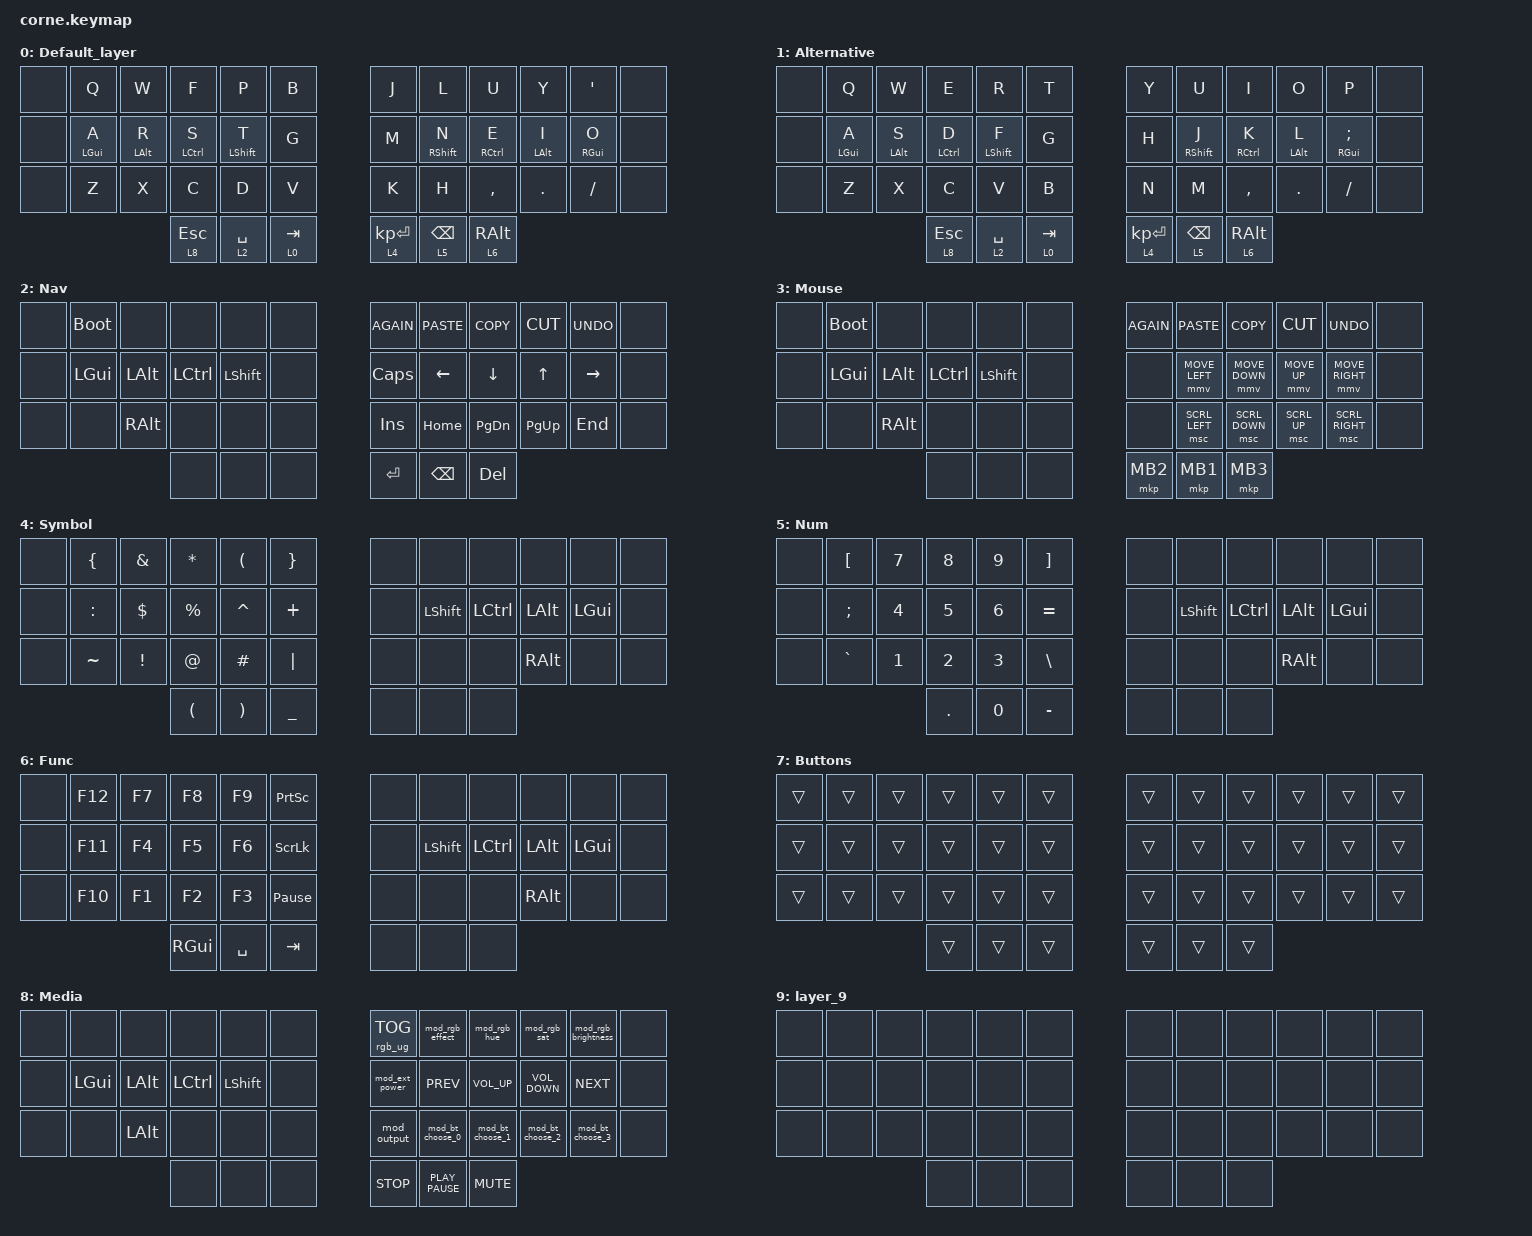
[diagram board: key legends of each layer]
/*
 * Copyright (c) 2020 The ZMK Contributors
 *
 * SPDX-License-Identifier: MIT
 */

#include <behaviors.dtsi>
#include <dt-bindings/zmk/bt.h>
#include <dt-bindings/zmk/ext_power.h>
#include <dt-bindings/zmk/keys.h>
#include <dt-bindings/zmk/outputs.h>
#include <dt-bindings/zmk/pointing.h>
#include <dt-bindings/zmk/rgb.h>

#define ZMK_POINTING_DEFAULT_SCRL_VAL 25
#define LOWER   1
#define RAISE   2

/ {
    behaviors {
        hrl: hrl {
            compatible = "zmk,behavior-hold-tap";
            label = "HRL";
            bindings = <&kp>, <&kp>;

            #binding-cells = <2>;
            flavor = "tap-preferred";
            tapping-term-ms = <200>;
            quick-tap-ms = <175>;
            require-prior-idle-ms = <1>;
            hold-trigger-key-positions = <7 6 18 30 31 19 8 20 32 33 9 21 34 22 10 11 23 35>;
        };

        hrm: hrm {
            compatible = "zmk,behavior-hold-tap";
            label = "HRM";
            bindings = <&kp>, <&kp>;

            #binding-cells = <2>;
            flavor = "tap-preferred";
            tapping-term-ms = <200>;
            quick-tap-ms = <175>;
            require-prior-idle-ms = <1>;
            hold-trigger-key-positions = <0 12 24 25 13 1 2 14 26 27 15 3 4 28 16 29 17 5>;
        };

        mod_rgb_effect: mod_rgb_effect {
            compatible = "zmk,behavior-mod-morph";
            label = "MOD_RGB_EFFECT";
            bindings = <&rgb_ug RGB_EFF>, <&rgb_ug RGB_EFR>;

            #binding-cells = <0>;
            mods = <(MOD_LSFT)>;
            keep-mods = <(MOD_LSFT)>;
        };

        mod_rgb_hue: mod_rgb_hue {
            compatible = "zmk,behavior-mod-morph";
            label = "MOD_RGB_HUE";
            bindings = <&rgb_ug RGB_HUI>, <&rgb_ug RGB_HUD>;

            #binding-cells = <0>;
            mods = <(MOD_LSFT)>;
            keep-mods = <(MOD_LSFT)>;
        };

        mod_rgb_sat: mod_rgb_sat {
            compatible = "zmk,behavior-mod-morph";
            label = "MOD_RGB_SAT";
            bindings = <&rgb_ug RGB_SAI>, <&rgb_ug RGB_SAD>;

            #binding-cells = <0>;
            mods = <(MOD_LSFT)>;
            keep-mods = <(MOD_LSFT)>;
        };

        mod_rgb_brightness: mod_rgb_brightness {
            compatible = "zmk,behavior-mod-morph";
            label = "MOD_RGB_BRIGHTNESS";
            bindings = <&rgb_ug RGB_BRI>, <&rgb_ug RGB_BRD>;

            #binding-cells = <0>;
            mods = <(MOD_LSFT)>;
            keep-mods = <(MOD_LSFT)>;
        };

        mod_ext_power: mod_ext_power {
            compatible = "zmk,behavior-mod-morph";
            label = "MOD_EXT_POWER";
            bindings = <&ext_power EP_TOG>, <&ext_power EP_OFF>;

            #binding-cells = <0>;
            mods = <(MOD_LSFT)>;
            keep-mods = <(MOD_LSFT)>;
        };

        mod_output: mod_output {
            compatible = "zmk,behavior-mod-morph";
            label = "MOD_OUTPUT";
            bindings = <&out OUT_TOG>, <&out OUT_USB>;

            #binding-cells = <0>;
            mods = <(MOD_LSFT)>;
            keep-mods = <(MOD_LSFT)>;
        };

        mod_bt_choose_0: mod_bt_choose_0 {
            compatible = "zmk,behavior-mod-morph";
            label = "MOD_BT_CHOOSE_0";
            bindings = <&bt BT_SEL 0>, <&bt BT_CLR>;

            #binding-cells = <0>;
            mods = <(MOD_LSFT)>;
            keep-mods = <(MOD_LSFT)>;
        };

        mod_bt_choose_1: mod_bt_choose_1 {
            compatible = "zmk,behavior-mod-morph";
            label = "MOD_BT_CHOOSE_1";
            bindings = <&bt BT_SEL 1>, <&bt BT_CLR>;

            #binding-cells = <0>;
            mods = <(MOD_LSFT)>;
            keep-mods = <(MOD_LSFT)>;
        };

        mod_bt_choose_2: mod_bt_choose_2 {
            compatible = "zmk,behavior-mod-morph";
            label = "MOD_BT_CHOOSE_2";
            bindings = <&bt BT_SEL 2>, <&bt BT_CLR>;

            #binding-cells = <0>;
            mods = <(MOD_LSFT)>;
            keep-mods = <(MOD_LSFT)>;
        };

        mod_bt_choose_3: mod_bt_choose_3 {
            compatible = "zmk,behavior-mod-morph";
            label = "MOD_BT_CHOOSE_3";
            bindings = <&bt BT_SEL 3>, <&bt BT_CLR>;

            #binding-cells = <0>;
            mods = <(MOD_LSFT)>;
            keep-mods = <(MOD_LSFT)>;
        };
    };

    combos {
        compatible = "zmk,combos";

        To_Qwerty {
            bindings = <&mo 1>;
            key-positions = <0 12 24>;
            layers = <0>;
        };

        To_Colemak {
            bindings = <&mo 0>;
            key-positions = <0 12 24>;
            layers = <1>;
        };

        Genpd1 {
            bindings = <&kp RS(RA(RC(RG(C_MENU))))>;
            key-positions = <10 22 34>;
            layers = <0 1>;
        };

        Genpd2 {
            bindings = <&kp RS(RA(RC(RG(K_WWW))))>;
            key-positions = <9 21 33>;
            layers = <0 1>;
        };
    };

    keymap {
        compatible = "zmk,keymap";

        Default_layer {
            bindings = <
&none  &kp Q            &kp W            &kp F                &kp P              &kp B        &kp J           &kp L               &kp U                 &kp Y            &kp SQT           &none
&none  &hrl LEFT_GUI A  &hrl LEFT_ALT R  &hrl LEFT_CONTROL S  &hrl LEFT_SHIFT T  &kp G        &kp M           &hrm RIGHT_SHIFT N  &hrm RIGHT_CONTROL E  &hrm LEFT_ALT I  &hrm RIGHT_GUI O  &none
&none  &kp Z            &kp X            &kp C                &kp D              &kp V        &kp K           &kp H               &kp COMMA             &kp DOT          &kp FSLH          &none
                                         &lt 8 ESCAPE         &lt 2 SPACE        &lt 0 TAB    &lt 4 KP_ENTER  &lt 5 BACKSPACE     &lt 6 RIGHT_ALT
            >;
        };

        Alternative {
            bindings = <
&none  &kp Q            &kp W            &kp E                &kp R              &kp T        &kp Y           &kp U               &kp I                 &kp O            &kp P                     &none
&none  &hrl LEFT_GUI A  &hrl LEFT_ALT S  &hrl LEFT_CONTROL D  &hrl LEFT_SHIFT F  &kp G        &kp H           &hrm RIGHT_SHIFT J  &hrm RIGHT_CONTROL K  &hrm LEFT_ALT L  &hrm RIGHT_GUI SEMICOLON  &none
&none  &kp Z            &kp X            &kp C                &kp V              &kp B        &kp N           &kp M               &kp COMMA             &kp DOT          &kp FSLH                  &none
                                         &lt 8 ESCAPE         &lt 2 SPACE        &lt 0 TAB    &lt 4 KP_ENTER  &lt 5 BACKSPACE     &lt 6 RIGHT_ALT
            >;
        };

        Nav {
            bindings = <
&none  &bootloader   &none          &none             &none           &none    &kp K_AGAIN   &kp K_PASTE    &kp K_COPY      &kp K_CUT     &kp K_UNDO       &none
&none  &kp LEFT_GUI  &kp LEFT_ALT   &kp LEFT_CONTROL  &kp LEFT_SHIFT  &none    &kp CAPSLOCK  &kp LEFT       &kp DOWN_ARROW  &kp UP_ARROW  &kp RIGHT_ARROW  &none
&none  &none         &kp RIGHT_ALT  &none             &none           &none    &kp INSERT    &kp HOME       &kp PAGE_DOWN   &kp PAGE_UP   &kp END          &none
                                    &none             &none           &none    &kp ENTER     &kp BACKSPACE  &kp DELETE
            >;
        };

        Mouse {
            bindings = <
&none  &bootloader   &none          &none             &none           &none    &kp K_AGAIN  &kp K_PASTE     &kp K_COPY      &kp K_CUT     &kp K_UNDO       &none
&none  &kp LEFT_GUI  &kp LEFT_ALT   &kp LEFT_CONTROL  &kp LEFT_SHIFT  &none    &none        &mmv MOVE_LEFT  &mmv MOVE_DOWN  &mmv MOVE_UP  &mmv MOVE_RIGHT  &none
&none  &none         &kp RIGHT_ALT  &none             &none           &none    &none        &msc SCRL_LEFT  &msc SCRL_DOWN  &msc SCRL_UP  &msc SCRL_RIGHT  &none
                                    &none             &none           &none    &mkp MB2     &mkp MB1        &mkp MB3
            >;
        };

        Symbol {
            bindings = <
&none  &kp LEFT_BRACE  &kp AMPERSAND    &kp ASTERISK          &kp LEFT_PARENTHESIS   &kp RIGHT_BRACE    &none  &none      &none      &none     &none     &none
&none  &kp COLON       &kp DOLLAR       &kp PERCENT           &kp CARET              &kp PLUS           &none  &kp LSHFT  &kp LCTRL  &kp LALT  &kp LGUI  &none
&none  &kp TILDE       &kp EXCLAMATION  &kp AT_SIGN           &kp HASH               &kp PIPE           &none  &none      &none      &kp RALT  &none     &none
                                        &kp LEFT_PARENTHESIS  &kp RIGHT_PARENTHESIS  &kp UNDERSCORE     &none  &none      &none
            >;
        };

        Num {
            bindings = <
&none  &kp LBKT   &kp N7  &kp N8   &kp N9  &kp RBKT     &none  &none      &none      &none     &none     &none
&none  &kp SEMI   &kp N4  &kp N5   &kp N6  &kp EQUAL    &none  &kp LSHFT  &kp LCTRL  &kp LALT  &kp LGUI  &none
&none  &kp GRAVE  &kp N1  &kp N2   &kp N3  &kp BSLH     &none  &none      &none      &kp RALT  &none     &none
                          &kp DOT  &kp N0  &kp MINUS    &none  &none      &none
            >;
        };

        Func {
            bindings = <
&none  &kp F12  &kp F7  &kp F8    &kp F9     &kp PRINTSCREEN    &none  &none      &none      &none     &none     &none
&none  &kp F11  &kp F4  &kp F5    &kp F6     &kp SCROLLLOCK     &none  &kp LSHFT  &kp LCTRL  &kp LALT  &kp LGUI  &none
&none  &kp F10  &kp F1  &kp F2    &kp F3     &kp PAUSE_BREAK    &none  &none      &none      &kp RALT  &none     &none
                        &kp RGUI  &kp SPACE  &kp TAB            &none  &none      &none
            >;
        };

        Buttons {
            bindings = <
&trans  &trans  &trans  &trans  &trans  &trans    &trans  &trans  &trans  &trans  &trans  &trans
&trans  &trans  &trans  &trans  &trans  &trans    &trans  &trans  &trans  &trans  &trans  &trans
&trans  &trans  &trans  &trans  &trans  &trans    &trans  &trans  &trans  &trans  &trans  &trans
                        &trans  &trans  &trans    &trans  &trans  &trans
            >;
        };

        Media {
            bindings = <
&none  &none     &none     &none      &none      &none    &rgb_ug RGB_TOG  &mod_rgb_effect   &mod_rgb_hue      &mod_rgb_sat       &mod_rgb_brightness  &none
&none  &kp LGUI  &kp LALT  &kp LCTRL  &kp LSHFT  &none    &mod_ext_power   &kp K_PREV        &kp C_VOLUME_UP   &kp C_VOLUME_DOWN  &kp K_NEXT           &none
&none  &none     &kp LALT  &none      &none      &none    &mod_output      &mod_bt_choose_0  &mod_bt_choose_1  &mod_bt_choose_2   &mod_bt_choose_3     &none
                           &none      &none      &none    &kp K_STOP       &kp K_PLAY_PAUSE  &kp K_MUTE
            >;
        };

        layer_9 {
            bindings = <
&none  &none  &none  &none  &none  &none    &none  &none  &none  &none  &none  &none
&none  &none  &none  &none  &none  &none    &none  &none  &none  &none  &none  &none
&none  &none  &none  &none  &none  &none    &none  &none  &none  &none  &none  &none
                     &none  &none  &none    &none  &none  &none
            >;
        };
    };

    conditional_layers { compatible = "zmk,conditional-layers"; };
};
